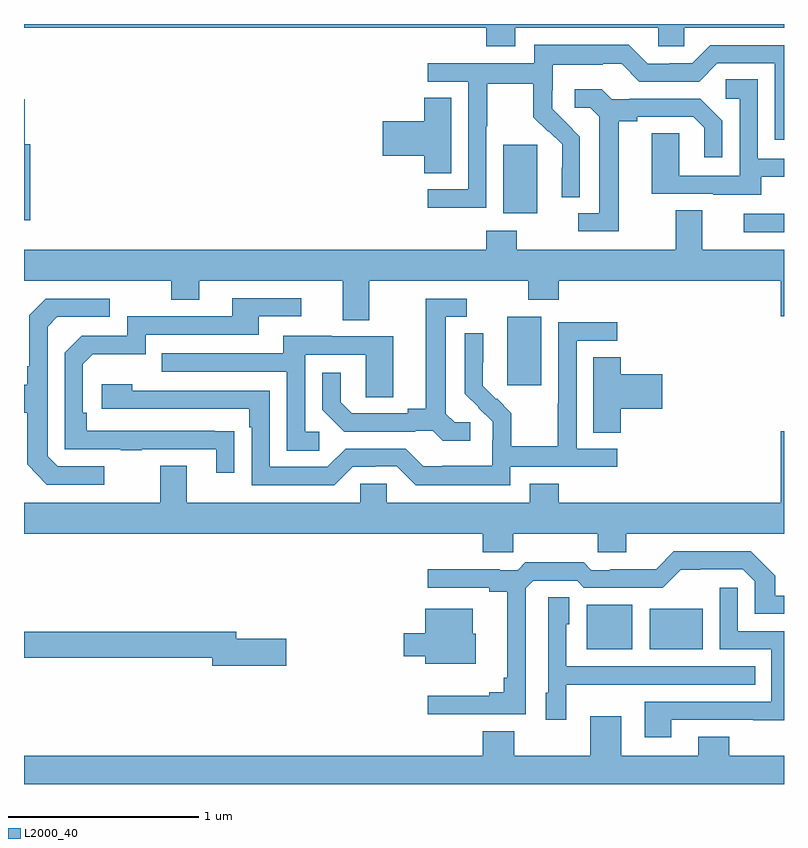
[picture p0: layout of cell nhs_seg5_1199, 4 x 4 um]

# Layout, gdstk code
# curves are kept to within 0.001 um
import gdstk
lib = gdstk.Library(unit=1e-6, precision=1e-09)
def R(c, l, rs):  # rectangles x0, y0, x1, y1
    for r in rs: c.add(gdstk.rectangle(r[:2], r[2:], *l))
def P(c, l, *ps):  # polygons
    for p in ps: c.add(gdstk.Polygon(p, *l))
L2000_40 = (2000, 40)

nhs_seg5_1199 = lib.new_cell('nhs_seg5_1199')
R(nhs_seg5_1199, L2000_40, [(187.961,833.507,188.2,833.743), (188.294,833.507,188.572,833.722), (187.544,834.897,187.723,835.258), (188.787,835.704,189,835.8), (187.523,835.802,187.702,836.163)])
P(nhs_seg5_1199, L2000_40, [(187.585,836.78),(188.337,836.78),(188.337,836.682),(188.475,836.682),(188.475,836.78),(189,836.78),(189,836.799),(185,836.799),(185,836.78),(187.433,836.78),(187.433,836.681),(187.585,836.681)],
  [(187.434,836.26),(187.437,836.26),(187.437,836.484),(187.681,836.484),(187.681,836.309),(187.758,836.232),(187.761,836.235),(187.832,836.165),(187.832,836.042),(187.83,836.042),(187.83,835.888),(187.926,835.888),(187.926,836.206),(187.78,836.354),(187.78,836.451),(187.782,836.451),(187.782,836.585),(188.045,836.585),(188.045,836.589),(188.145,836.589),(188.238,836.496),(188.553,836.496),(188.649,836.592),(188.952,836.592),(188.952,836.19),(189,836.19),(189,836.688),(188.613,836.688),(188.517,836.592),(188.399,836.592),(188.399,836.589),(188.283,836.589),(188.183,836.689),(187.686,836.689),(187.686,836.592),(187.125,836.592),(187.125,836.496),(187.338,836.496),(187.338,835.929),(187.125,835.929),(187.125,835.831),(187.434,835.831)],
  [(188.881,835.995),(189,835.995),(189,836.091),(188.862,836.091),(188.862,836.507),(188.694,836.507),(188.694,836.406),(188.766,836.406),(188.766,836.001),(188.448,836.001),(188.448,836.225),(188.303,836.225),(188.303,835.905),(188.627,835.905),(188.627,835.901),(188.881,835.901)],
  [(188.131,836.288),(188.227,836.288),(188.227,836.31),(188.522,836.31),(188.579,836.253),(188.579,836.097),(188.676,836.097),(188.676,836.29),(188.56,836.406),(188.188,836.406),(188.188,836.403),(188.094,836.403),(188.042,836.455),(187.899,836.455),(187.899,836.358),(187.98,836.358),(188.027,836.311),(188.027,835.803),(187.917,835.803),(187.917,835.707),(188.131,835.707)],
  [(187.249,836.411),(187.106,836.411),(187.106,836.288),(186.888,836.288),(186.888,836.105),(187.106,836.105),(187.106,836.014),(187.249,836.014)],
  [(185.033,836.167),(185.003,836.167),(185.003,836.404),(185,836.404),(185,835.766),(185.033,835.766)],
  [(186.817,835.448),(187.654,835.448),(187.654,835.349),(187.814,835.349),(187.814,835.448),(188.984,835.448),(188.984,835.26),(189,835.26),(189,835.612),(188.569,835.612),(188.569,835.82),(188.429,835.82),(188.429,835.612),(187.593,835.612),(187.593,835.711),(187.433,835.711),(187.433,835.612),(185,835.612),(185,835.448),(185.776,835.448),(185.776,835.349),(185.923,835.349),(185.923,835.448),(186.677,835.448),(186.677,835.24),(186.817,835.24)],
  [(186.107,834.656),(185.33,834.657),(185.33,834.754),(185.31,834.754),(185.31,835.008),(185.363,835.061),(185.64,835.061),(185.64,835.164),(186.235,835.164),(186.235,835.26),(186.46,835.26),(186.46,835.356),(186.095,835.356),(186.095,835.26),(185.544,835.26),(185.544,835.158),(185.304,835.158),(185.214,835.068),(185.214,834.561),(185.509,834.561),(185.509,834.556),(185.621,834.556),(185.621,834.561),(186.011,834.561),(186.011,834.438),(186.107,834.438)],
  [(187.348,834.702),(187.266,834.702),(187.219,834.749),(187.219,835.257),(187.33,835.257),(187.33,835.353),(187.115,835.353),(187.115,834.773),(187.019,834.773),(187.019,834.75),(186.724,834.75),(186.667,834.807),(186.667,834.964),(186.57,834.964),(186.57,834.77),(186.686,834.654),(187.058,834.654),(187.058,834.657),(187.152,834.657),(187.204,834.605),(187.348,834.605)],
  [(185.422,834.471),(185.178,834.471),(185.124,834.525),(185.124,835.206),(185.175,835.257),(185.452,835.257),(185.452,835.353),(185.115,835.353),(185.028,835.266),(185.028,834.997),(185.016,834.997),(185.016,834.901),(185,834.901),(185,834.754),(185.016,834.754),(185.016,834.481),(185.121,834.375),(185.422,834.375)],
  [(187.56,834.468),(188.122,834.468),(188.122,834.564),(187.908,834.564),(187.908,835.131),(188.122,835.131),(188.122,835.23),(187.812,835.23),(187.812,834.8),(187.81,834.8),(187.81,834.577),(187.565,834.577),(187.565,834.751),(187.488,834.828),(187.485,834.825),(187.415,834.896),(187.416,835.172),(187.32,835.172),(187.32,834.854),(187.466,834.706),(187.466,834.609),(187.464,834.609),(187.464,834.475),(187.201,834.475),(187.201,834.471),(187.101,834.471),(187.008,834.564),(186.693,834.564),(186.597,834.468),(186.294,834.468),(186.294,834.87),(185.57,834.87),(185.57,834.904),(185.409,834.904),(185.409,834.774),(186.185,834.774),(186.185,834.677),(186.198,834.677),(186.198,834.372),(186.633,834.372),(186.729,834.468),(186.848,834.468),(186.848,834.471),(186.963,834.471),(187.063,834.371),(187.56,834.371)],
  [(186.553,834.654),(186.48,834.654),(186.48,835.059),(186.798,835.059),(186.798,834.835),(186.943,834.835),(186.943,835.155),(186.619,835.155),(186.619,835.159),(186.365,835.159),(186.365,835.065),(185.725,835.065),(185.725,834.969),(186.384,834.969),(186.384,834.553),(186.553,834.553)],
  [(188.141,834.773),(188.359,834.773),(188.359,834.956),(188.141,834.956),(188.141,835.046),(187.997,835.046),(187.997,834.649),(188.141,834.649)],
  [(187.575,834.116),(188.02,834.116),(188.02,834.018),(188.17,834.018),(188.17,834.116),(189,834.116),(189,834.655),(188.984,834.655),(188.984,834.28),(187.814,834.28),(187.814,834.379),(187.661,834.379),(187.661,834.28),(186.909,834.28),(186.909,834.378),(186.771,834.378),(186.771,834.28),(185.857,834.28),(185.857,834.475),(185.717,834.475),(185.717,834.28),(185,834.28),(185,834.116),(187.415,834.116),(187.415,834.018),(187.575,834.018)],
  [(187.641,833.829),(187.68,833.868),(187.911,833.868),(187.947,833.832),(188.361,833.832),(188.456,833.927),(188.784,833.928),(188.847,833.865),(188.847,833.694),(189,833.694),(189,833.791),(188.955,833.791),(188.955,833.894),(188.824,834.024),(188.421,834.024),(188.327,833.93),(188.086,833.93),(188.086,833.925),(187.986,833.925),(187.947,833.965),(187.639,833.965),(187.599,833.925),(187.505,833.925),(187.505,833.93),(187.125,833.93),(187.125,833.832),(187.448,833.832),(187.448,833.81),(187.544,833.81),(187.544,833.359),(187.525,833.359),(187.525,833.282),(187.448,833.282),(187.448,833.263),(187.125,833.263),(187.125,833.166),(187.641,833.166)],
  [(188.407,833.136),(188.837,833.136),(188.837,833.135),(189,833.135),(189,833.604),(188.757,833.604),(188.757,833.833),(188.661,833.833),(188.661,833.508),(188.934,833.508),(188.934,833.232),(188.267,833.232),(188.267,833.046),(188.407,833.046)],
  [(187.854,833.321),(188.171,833.321),(188.171,833.322),(188.849,833.322),(188.849,833.418),(187.854,833.418),(187.854,833.64),(187.87,833.64),(187.87,833.783),(187.758,833.783),(187.758,833.28),(187.745,833.28),(187.745,833.136),(187.854,833.136)],
  [(187.378,833.589),(187.363,833.589),(187.363,833.722),(187.112,833.722),(187.112,833.593),(186.998,833.593),(186.998,833.471),(187.112,833.471),(187.112,833.432),(187.378,833.432)],
  [(186.379,833.564),(186.118,833.564),(186.118,833.6),(185,833.6),(185,833.464),(185.99,833.464),(185.99,833.422),(186.379,833.422)],
  [(189,832.948),(188.713,832.948),(188.713,833.047),(188.549,833.047),(188.549,832.948),(188.143,832.948),(188.143,833.155),(187.979,833.155),(187.979,832.948),(187.579,832.948),(187.579,833.077),(187.415,833.077),(187.415,832.948),(185,832.948),(185,832.799),(189,832.799)])

lib.write_gds('nhs_seg5_1199.gds')
